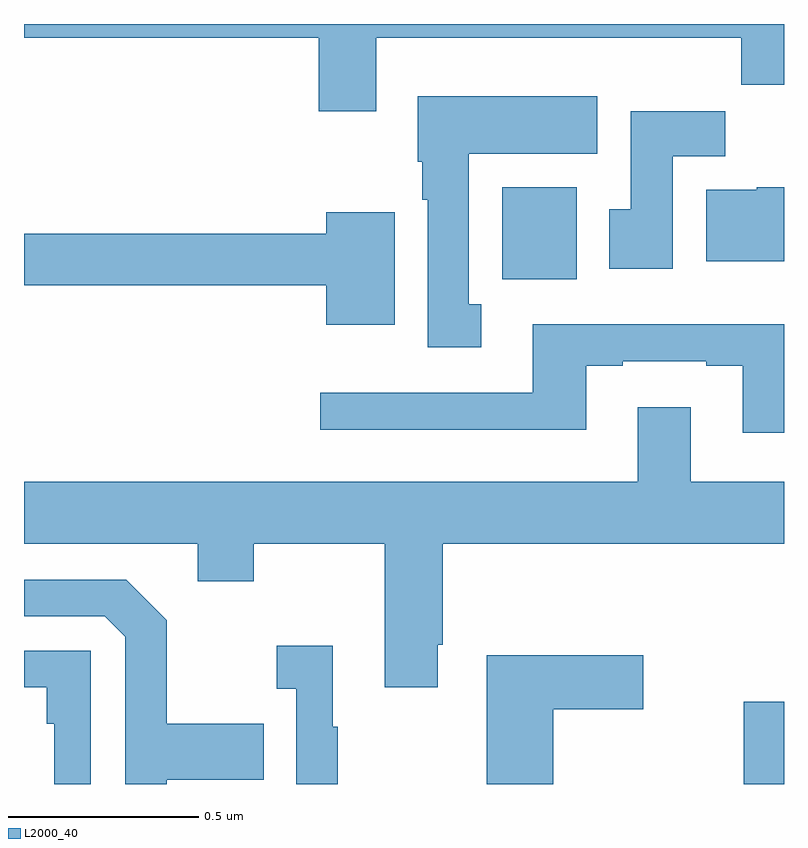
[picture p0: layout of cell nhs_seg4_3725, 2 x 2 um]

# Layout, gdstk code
import gdstk
lib = gdstk.Library(unit=1e-6, precision=1e-09)
def R(c, l, rs):  # rectangles x0, y0, x1, y1
    for r in rs: c.add(gdstk.rectangle(r[:2], r[2:], *l))
def P(c, l, *ps):  # polygons
    for p in ps: c.add(gdstk.Polygon(p, *l))
L2000_40 = (2000, 40)

nhs_seg4_3725 = lib.new_cell('nhs_seg4_3725')
R(nhs_seg4_3725, L2000_40, [(158.894,750.9,159,751.117), (158.258,752.228,158.455,752.47)])
P(nhs_seg4_3725, L2000_40, [(157.927,752.864),(158.887,752.864),(158.887,752.74),(159,752.74),(159,752.9),(157,752.9),(157,752.864),(157.775,752.864),(157.775,752.67),(157.927,752.67)],
  [(158.203,752.162),(158.17,752.162),(158.17,752.558),(158.509,752.558),(158.509,752.71),(158.036,752.71),(158.036,752.538),(158.048,752.538),(158.048,752.438),(158.063,752.438),(158.063,752.049),(158.203,752.049)],
  [(158.707,752.552),(158.846,752.552),(158.846,752.671),(158.597,752.671),(158.597,752.412),(158.54,752.412),(158.54,752.256),(158.707,752.256)],
  [(159,752.47),(158.928,752.47),(158.928,752.464),(158.795,752.464),(158.795,752.276),(159,752.276)],
  [(157.975,752.404),(157.796,752.404),(157.796,752.348),(157,752.348),(157,752.212),(157.796,752.212),(157.796,752.108),(157.975,752.108)],
  [(159,752.11),(158.339,752.11),(158.339,751.929),(157.779,751.929),(157.779,751.832),(158.479,751.832),(158.479,752.001),(158.575,752.001),(158.575,752.013),(158.795,752.013),(158.795,752.001),(158.891,752.001),(158.891,751.824),(159,751.824)],
  [(158.089,751.267),(158.102,751.267),(158.102,751.532),(159,751.532),(159,751.696),(158.755,751.696),(158.755,751.891),(158.615,751.891),(158.615,751.696),(157,751.696),(157,751.532),(157.457,751.532),(157.457,751.433),(157.605,751.433),(157.605,751.532),(157.949,751.532),(157.949,751.155),(158.089,751.155)],
  [(157.375,750.911),(157.631,750.911),(157.631,751.059),(157.375,751.059),(157.375,751.331),(157.269,751.437),(157,751.437),(157,751.341),(157.212,751.341),(157.266,751.287),(157.266,750.9),(157.375,750.9)],
  [(157.825,751.051),(157.813,751.051),(157.813,751.264),(157.665,751.264),(157.665,751.151),(157.716,751.151),(157.716,750.9),(157.825,750.9)],
  [(157.176,751.251),(157,751.251),(157,751.155),(157.06,751.155),(157.06,751.058),(157.08,751.058),(157.08,750.9),(157.176,750.9)],
  [(158.393,751.097),(158.629,751.097),(158.629,751.239),(158.218,751.239),(158.218,750.9),(158.393,750.9)])

lib.write_gds('nhs_seg4_3725.gds')
